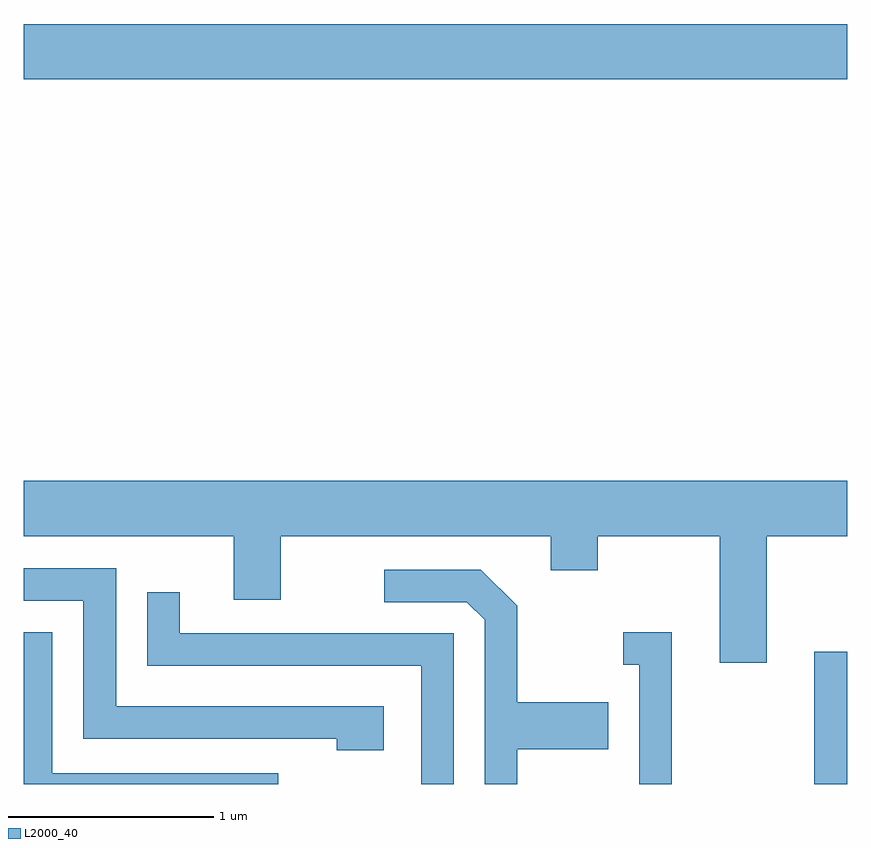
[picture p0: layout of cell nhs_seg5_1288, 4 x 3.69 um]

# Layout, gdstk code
import gdstk
lib = gdstk.Library(unit=1e-6, precision=1e-09)
def R(c, l, rs):  # rectangles x0, y0, x1, y1
    for r in rs: c.add(gdstk.rectangle(r[:2], r[2:], *l))
def P(c, l, *ps):  # polygons
    for p in ps: c.add(gdstk.Polygon(p, *l))
L2000_40 = (2000, 40)

nhs_seg5_1288 = lib.new_cell('nhs_seg5_1288')
R(nhs_seg5_1288, L2000_40, [(227.451,1420.072,227.611,1420.714), (223.611,1423.496,227.611,1423.764)])
P(nhs_seg5_1288, L2000_40, [(227.219,1421.276),(227.611,1421.276),(227.611,1421.544),(223.611,1421.544),(223.611,1421.276),(224.631,1421.276),(224.631,1420.966),(224.859,1420.966),(224.859,1421.276),(226.171,1421.276),(226.171,1421.111),(226.399,1421.111),(226.399,1421.276),(226.991,1421.276),(226.991,1420.661),(227.219,1420.661)],
  [(225.359,1420.449),(224.059,1420.449),(224.059,1421.119),(223.611,1421.119),(223.611,1420.961),(223.901,1420.961),(223.901,1420.291),(225.131,1420.291),(225.131,1420.236),(225.359,1420.236)],
  [(226.009,1420.241),(226.449,1420.241),(226.449,1420.469),(226.009,1420.469),(226.009,1420.937),(225.832,1421.114),(225.363,1421.114),(225.363,1420.956),(225.764,1420.956),(225.851,1420.869),(225.851,1420.072),(226.009,1420.072)],
  [(225.699,1420.804),(224.369,1420.804),(224.369,1421.003),(224.211,1421.003),(224.211,1420.646),(225.541,1420.646),(225.541,1420.072),(225.699,1420.072)],
  [(224.848,1420.124),(223.749,1420.124),(223.749,1420.809),(223.611,1420.809),(223.611,1420.072),(224.848,1420.072)],
  [(226.759,1420.809),(226.523,1420.809),(226.523,1420.651),(226.601,1420.651),(226.601,1420.072),(226.759,1420.072)])

lib.write_gds('nhs_seg5_1288.gds')
